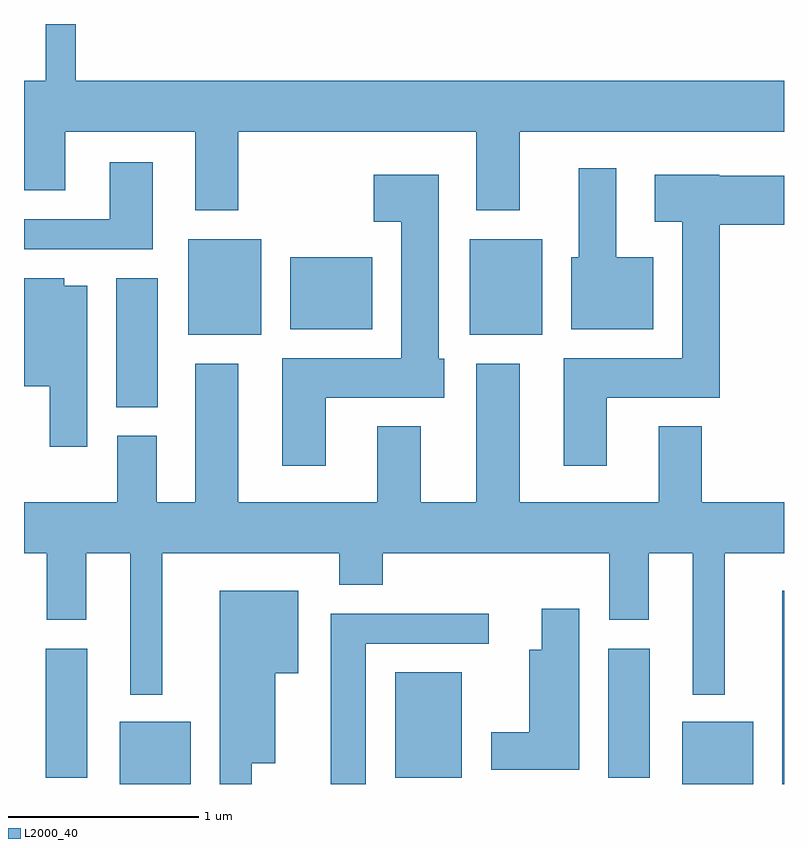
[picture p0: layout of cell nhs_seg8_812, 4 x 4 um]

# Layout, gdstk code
import gdstk
lib = gdstk.Library(unit=1e-6, precision=1e-09)
def R(c, l, rs):  # rectangles x0, y0, x1, y1
    for r in rs: c.add(gdstk.rectangle(r[:2], r[2:], *l))
def P(c, l, *ps):  # polygons
    for p in ps: c.add(gdstk.Polygon(p, *l))
L2000_40 = (2000, 40)

nhs_seg8_812 = lib.new_cell('nhs_seg8_812')
R(nhs_seg8_812, L2000_40, [(210.116,1806.342,210.489,1806.669), (213.076,1806.342,213.449,1806.669), (213.601,1806.342,213.611,1807.359), (209.726,1806.376,209.944,1807.054), (211.566,1806.376,211.914,1806.929), (212.686,1806.376,212.904,1807.054), (210.096,1808.326,210.314,1809.004), (210.476,1808.706,210.859,1809.209), (211.956,1808.706,212.339,1809.209), (211.011,1808.736,211.444,1809.114)])
P(nhs_seg8_812, L2000_40, [(210.739,1809.776),(211.991,1809.776),(211.991,1809.361),(212.219,1809.361),(212.219,1809.776),(213.611,1809.776),(213.611,1810.044),(209.884,1810.044),(209.884,1810.342),(209.726,1810.342),(209.726,1810.044),(209.611,1810.044),(209.611,1809.466),(209.829,1809.466),(209.829,1809.776),(210.511,1809.776),(210.511,1809.361),(210.739,1809.361)],
  [(210.289,1809.614),(210.061,1809.614),(210.061,1809.314),(209.611,1809.314),(209.611,1809.156),(210.289,1809.156)],
  [(212.924,1809.114),(212.729,1809.114),(212.729,1809.584),(212.531,1809.584),(212.531,1809.114),(212.491,1809.114),(212.491,1808.736),(212.924,1808.736)],
  [(212.679,1808.376),(213.274,1808.376),(213.274,1809.286),(213.611,1809.286),(213.611,1809.544),(213.27,1809.544),(213.27,1809.549),(212.931,1809.549),(212.931,1809.301),(213.076,1809.301),(213.076,1808.584),(212.451,1808.584),(212.451,1808.016),(212.679,1808.016)],
  [(211.199,1808.376),(211.824,1808.376),(211.824,1808.579),(211.794,1808.579),(211.794,1809.549),(211.451,1809.549),(211.451,1809.301),(211.596,1809.301),(211.596,1808.584),(210.971,1808.584),(210.971,1808.016),(211.199,1808.016)],
  [(209.944,1808.964),(209.824,1808.964),(209.824,1809.004),(209.611,1809.004),(209.611,1808.436),(209.746,1808.436),(209.746,1808.116),(209.944,1808.116)],
  [(210.339,1807.556),(211.271,1807.556),(211.271,1807.391),(211.499,1807.391),(211.499,1807.556),(212.691,1807.556),(212.691,1807.206),(212.899,1807.206),(212.899,1807.556),(213.131,1807.556),(213.131,1806.813),(213.299,1806.813),(213.299,1807.556),(213.611,1807.556),(213.611,1807.824),(213.179,1807.824),(213.179,1808.224),(212.951,1808.224),(212.951,1807.824),(212.219,1807.824),(212.219,1808.554),(211.991,1808.554),(211.991,1807.824),(211.699,1807.824),(211.699,1808.224),(211.471,1808.224),(211.471,1807.824),(210.739,1807.824),(210.739,1808.554),(210.511,1808.554),(210.511,1807.824),(210.309,1807.824),(210.309,1808.174),(210.101,1808.174),(210.101,1807.824),(209.611,1807.824),(209.611,1807.556),(209.731,1807.556),(209.731,1807.206),(209.939,1807.206),(209.939,1807.556),(210.171,1807.556),(210.171,1806.813),(210.339,1806.813)],
  [(210.809,1806.451),(210.934,1806.451),(210.934,1806.926),(211.054,1806.926),(211.054,1807.359),(210.641,1807.359),(210.641,1806.342),(210.809,1806.342)],
  [(212.534,1807.264),(212.336,1807.264),(212.336,1807.049),(212.271,1807.049),(212.271,1806.614),(212.071,1806.614),(212.071,1806.416),(212.534,1806.416)],
  [(211.409,1807.081),(212.058,1807.081),(212.058,1807.239),(211.226,1807.239),(211.226,1806.342),(211.409,1806.342)])

lib.write_gds('nhs_seg8_812.gds')
